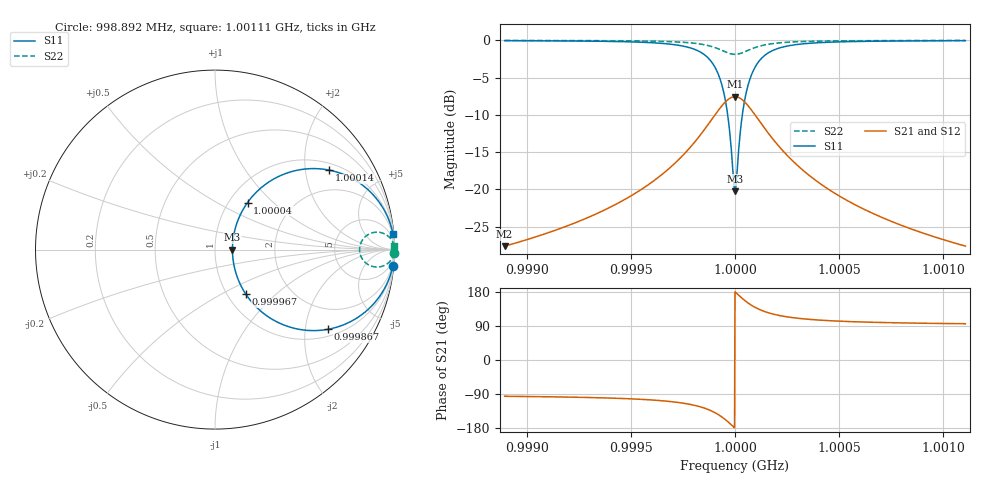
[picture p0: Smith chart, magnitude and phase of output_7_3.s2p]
! File generated for n1 = 7, n2 = 3
! b1 = 1.000000
! b2 = 0.215443
! Q0 = 10000.000000
! f0 = 1000000000.000000
! n = 1001
! rel_span = 10.000000
# Hz S RI R 50
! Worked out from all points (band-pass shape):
!   1001 points, 998.892 MHz to 1.00111 GHz, reference 50 ohm
!   highest |S21| = -7.56 dB at 1 GHz (marker M1); lowest = -27.6 dB at 998.892 MHz (marker M2)
!   |S21| within 3 dB of the highest: 999.8895 MHz to 1.000111 GHz (221 kHz wide, 0.0221 % of centre)
!   lowest |S11| = -20.2 dB at 1 GHz (marker M3), VSWR 1.22, Z = 60.8 + j0 ohm
!   |S11| at or under -10 dB: 999.9649 MHz to 1.000035 GHz (70.29 kHz wide, 0.00703 % of centre)
!   |S22| runs from -1.9 to 0.0 dB; largest |S21 - S12| = 0
!   S11 on the Smith chart (normalised r, x): 998.892 MHz: 1, -22; 999.867 MHz: 1.22, -2.66; 999.967 MHz: 1.22, -0.66; 1.00004 GHz: 1.22, +0.71; 1.00014 GHz: 1.22, +2.70; 1.00111 GHz: 1, +22
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9.988923e8  0.9911 -0.0893  -0.00414 -0.0415  -0.00414 -0.0415  0.9981 -0.0192
9.992623e8  0.9801 -0.1325  -0.00923 -0.0615  -0.00923 -0.0615  0.9957 -0.0285
9.994661e8  0.9628 -0.1795  -0.0173 -0.0833  -0.0173 -0.0833  0.992 -0.0387
9.996322e8  0.9249 -0.2493  -0.0348 -0.1157  -0.0348 -0.1157  0.9838 -0.0537
9.99774e8  0.8251 -0.3568  -0.0812 -0.1656  -0.0812 -0.1656  0.9623 -0.0769
9.99825e8  0.7418 -0.4079  -0.1198 -0.1893  -0.1198 -0.1893  0.9444 -0.0879
9.998671e8  0.63 -0.444  -0.1717 -0.2061  -0.1717 -0.2061  0.9203 -0.0957
9.999269e8  0.3712 -0.415  -0.2919 -0.1926  -0.2919 -0.1926  0.8645 -0.0894
9.99949e8  0.2549 -0.3427  -0.3458 -0.1591  -0.3458 -0.1591  0.8395 -0.0738
9.999668e8  0.1718 -0.2485  -0.3844 -0.1153  -0.3844 -0.1153  0.8216 -0.0535
9.999911e8  0.103 -0.0718  -0.4164 -0.0333  -0.4164 -0.0333  0.8067 -0.0155
1e9  0.0972 0  -0.419 0  -0.419 0  0.8055 0
1.000009e9  0.103 0.0718  -0.4164 0.0333  -0.4164 0.0333  0.8067 0.0155
1.000035e9  0.1811 0.262  -0.3801 0.1216  -0.3801 0.1216  0.8236 0.0565
1.000053e9  0.2663 0.3522  -0.3406 0.1635  -0.3406 0.1635  0.8419 0.0759
1.000075e9  0.3827 0.4198  -0.2865 0.1948  -0.2865 0.1948  0.867 0.0904
1.000135e9  0.6372 0.4426  -0.1684 0.2054  -0.1684 0.2054  0.9218 0.0954
1.000177e9  0.7464 0.4057  -0.1177 0.1883  -0.1177 0.1883  0.9454 0.0874
1.000228e9  0.8278 0.3547  -0.0799 0.1646  -0.0799 0.1646  0.9629 0.0764
1.00037e9  0.9257 0.2481  -0.0345 0.1152  -0.0345 0.1152  0.984 0.0534
1.00074e9  0.9802 0.1322  -0.00919 0.0614  -0.00919 0.0614  0.9957 0.0285
1.001108e9  0.9911 0.0894  -0.00415 0.0415  -0.00415 0.0415  0.9981 0.0193
